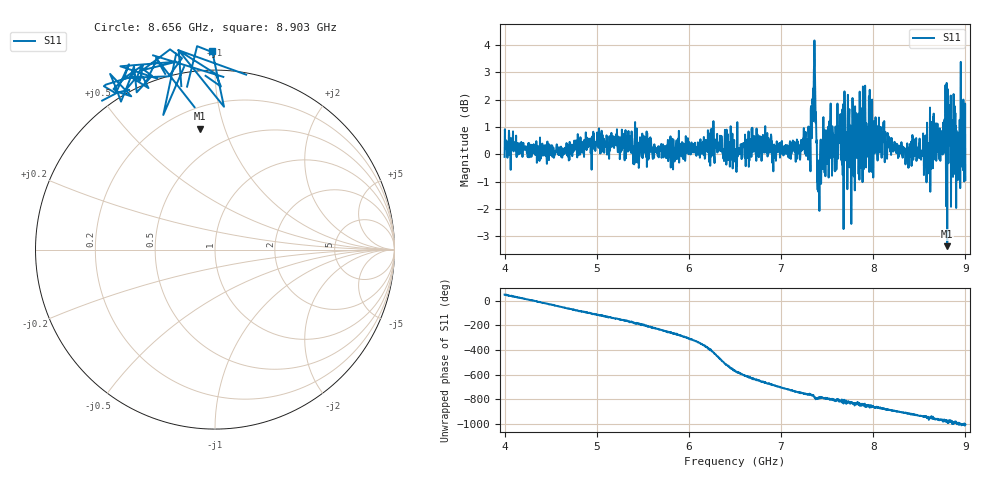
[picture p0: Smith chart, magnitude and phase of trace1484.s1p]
! Created with skrf 1.8.0 (http://scikit-rf.org).
# Hz S RI R 50.0
!freq ReS11 ImS11
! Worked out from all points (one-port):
!   1601 points, 4 GHz to 9 GHz, reference 50 ohm
!   lowest |S11| = -3.4 dB at 8.803 GHz (marker M1), VSWR 5.23, Z = 16.5 + j41.3 ohm
!   |S11| at or under -10 dB: nowhere
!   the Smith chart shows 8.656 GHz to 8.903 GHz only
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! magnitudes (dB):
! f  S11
! 4 GHz  -0.1
! 4.625 GHz  -0.1
! 5.25 GHz  -0.2
! 5.875 GHz  0.4
! 6.5 GHz  -0.3
! 6.694 GHz  0.3
! 7.125 GHz  0.3
! 7.294 GHz  -0.2
! 7.328 GHz  0.9
! 7.347 GHz  2.4
! 7.366 GHz  3.4
! 7.397 GHz  -1.3
! 7.412 GHz  -0.8
! 7.444 GHz  0.4
! 7.512 GHz  1.0
! 7.578 GHz  0.4
! 7.65 GHz  1.3
! 7.75 GHz  -0.2
! 7.769 GHz  -0.1
! 7.928 GHz  0.7
! 8.375 GHz  0.0
! 8.444 GHz  0.2
! 8.603 GHz  0.3
! 8.656 GHz  1.5
! 8.803 GHz  -3.4
! 8.919 GHz  -0.5
! 8.972 GHz  1.1
! 9 GHz  -0.9
